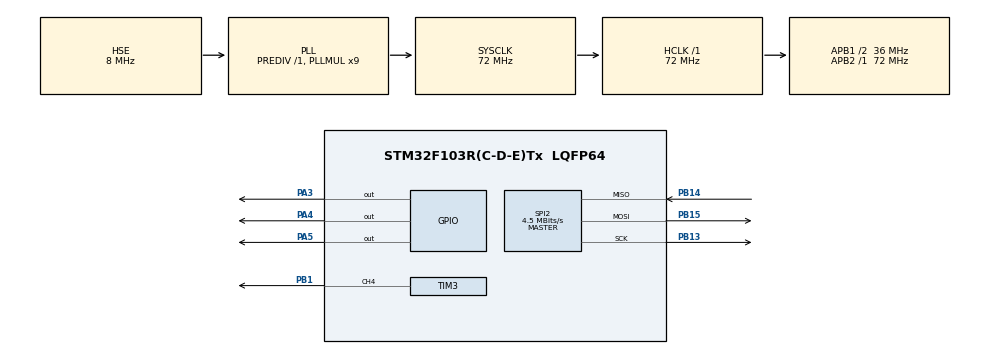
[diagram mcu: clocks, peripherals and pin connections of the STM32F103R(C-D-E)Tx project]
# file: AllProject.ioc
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Dma.Request0=TIM3_CH4/UP
Dma.TIM3_CH4/UP.0.Direction=DMA_MEMORY_TO_PERIPH
Dma.TIM3_CH4/UP.0.Instance=DMA1_Channel3
Dma.TIM3_CH4/UP.0.MemDataAlignment=DMA_MDATAALIGN_HALFWORD
Dma.TIM3_CH4/UP.0.MemInc=DMA_MINC_ENABLE
Dma.TIM3_CH4/UP.0.Mode=DMA_NORMAL
Dma.TIM3_CH4/UP.0.PeriphDataAlignment=DMA_PDATAALIGN_HALFWORD
Dma.TIM3_CH4/UP.0.PeriphInc=DMA_PINC_DISABLE
Dma.TIM3_CH4/UP.0.Priority=DMA_PRIORITY_LOW
FATFS._MAX_SS=4096
FATFS._USE_LFN=1
Mcu.Family=STM32F1
Mcu.Name=STM32F103R(C-D-E)Tx
Mcu.Package=LQFP64
NVIC.DMA1_Channel3_IRQn=true\:0\:0\:false\:false\:true\:false\:true
NVIC.PriorityGroup=NVIC_PRIORITYGROUP_4
NVIC.TIM2_IRQn=true\:0\:0\:false\:false\:true\:true\:true
PA3.GPIO_Speed=GPIO_SPEED_FREQ_MEDIUM
PA3.Signal=GPIO_Output
PA4.GPIO_Speed=GPIO_SPEED_FREQ_MEDIUM
PA4.Signal=GPIO_Output
PA5.GPIO_Speed=GPIO_SPEED_FREQ_MEDIUM
PA5.Signal=GPIO_Output
PB1.Signal=S_TIM3_CH4
PB13.Mode=Full_Duplex_Master
PB13.Signal=SPI2_SCK
PB14.Mode=Full_Duplex_Master
PB14.Signal=SPI2_MISO
PB15.Mode=Full_Duplex_Master
PB15.Signal=SPI2_MOSI
PD0-OSC_IN.Mode=HSE-External-Oscillator
PD0-OSC_IN.Signal=RCC_OSC_IN
PD1-OSC_OUT.Mode=HSE-External-Oscillator
PD1-OSC_OUT.Signal=RCC_OSC_OUT
ProjectManager.HeapSize=0x1000
ProjectManager.StackSize=0x1000
ProjectManager.TargetToolchain=MDK-ARM V5
RCC.AHBFreq_Value=72000000
RCC.APB1CLKDivider=RCC_HCLK_DIV2
RCC.APB1Freq_Value=36000000
RCC.APB1TimFreq_Value=72000000
RCC.APB2Freq_Value=72000000
RCC.APB2TimFreq_Value=72000000
RCC.HCLKFreq_Value=72000000
RCC.PLLMUL=RCC_PLL_MUL9
RCC.PLLSourceVirtual=RCC_PLLSOURCE_HSE
RCC.SYSCLKFreq_VALUE=72000000
RCC.SYSCLKSource=RCC_SYSCLKSOURCE_PLLCLK
RCC.USBFreq_Value=72000000
SH.S_TIM3_CH4.0=TIM3_CH4,PWM Generation4 CH4
SPI2.BaudRatePrescaler=SPI_BAUDRATEPRESCALER_8
SPI2.CalculateBaudRate=4.5 MBits/s
SPI2.Direction=SPI_DIRECTION_2LINES
SPI2.Mode=SPI_MODE_MASTER
SPI2.VirtualType=VM_MASTER
TIM2.Period=100
TIM2.Prescaler=7199
TIM3.Channel-PWM\ Generation4\ CH4=TIM_CHANNEL_4
TIM3.Period=89
VP_FATFS_VS_Generic.Mode=User_defined
VP_SYS_VS_ND.Mode=No_Debug
VP_TIM2_VS_ClockSourceINT.Mode=Internal
VP_TIM3_VS_ClockSourceINT.Mode=Internal
board=custom

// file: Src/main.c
/* USER CODE BEGIN Header */
/**
  ******************************************************************************
  * @file           : main.c
  * @brief          : Main program body
  ******************************************************************************
  * @attention
  *
  * <h2><center>&copy; Copyright (c) 2019 STMicroelectronics.
  * All rights reserved.</center></h2>
  *
  * This software component is licensed by ST under Ultimate Liberty license
  * SLA0044, the "License"; You may not use this file except in compliance with
  * the License. You may obtain a copy of the License at:
  *                             www.st.com/SLA0044
  *
  ******************************************************************************
  */
/* USER CODE END Header */

#include "main.h"
#include "fatfs.h"

/* USER CODE BEGIN Includes */
#include <stdio.h>
#include <stdlib.h>
#include <string.h>
#include <stdbool.h>
#include "sd.h"
#include "Lcd.h"
#include "Delay.h"
#include "Encoder.h"
#include "ws2812b.h"
/* USER CODE END Includes */

SPI_HandleTypeDef hspi2;

TIM_HandleTypeDef htim2;
TIM_HandleTypeDef htim3;
DMA_HandleTypeDef hdma_tim3_ch4_up;

extern int EncoderCount;
extern int EncoderMenu;
extern uint16_t BUF_DMA [ARRAY_LEN];
extern volatile uint16_t Timer1;
uint8_t sect[512];
uint32_t byteswritten,bytesread;
uint8_t result;
extern char USERPath[4]; /* logical drive path */
FATFS SDFatFs;
FATFS *fs;
FIL MyFile;
extern int count;
int NUMLEDS = 144;
int DMA_is_Ready = 1;

struct menu                             // Структура описывающая меню
{
  int ID;                               // Идентификационный уникальный индекс ID
  int parentID;                         // ID родителя
	int childID;
	int group;															// кол-во выводимых пунктов
	bool isParam;                         // Является ли пункт изменяемым параметром
  char name[8];                         // Название
  int value;                            // Актуальное значение
  int _min;                             // Минимально возможное значение параметра
  int _max;                             // Максимально возможное значение параметра
};

int menuArraySize = 8;                 // Задаем размер массива
struct menu menus[] = {                        // Задаем пункты меню
/*1.номер 2.роидтель,3.имя,4.тек.зн.56.диапазон*/
	{0, 0, 1, 1, false, "Menu",     0,   0,  0},
  {1, 0, 4, 3, false, "Files",    0,   0,  0},
  {2, 0, 5, 3, false, "Setting",  0,   0,  0},
  {3, 0, 0, 3, false, "Restart",  0,   0,  0},
  {4, 1, 4, 1, false, "Files",    0,   0,  0},
  {5, 1, 0, 3, true,  "NumLED",   144, 0,  144},
  {6, 1, 0, 3, true,  "Delay",    3,   0,  1000},
  {7, 1, 0, 3, true,  "Cycle",    0,   0,  1}
};
struct Image
{
	int ImageID;      //номер
  char name[6];     //имя картинки
  int Width;				//ширина (кол-во светодиодов)
	int Height;				//высота
	int Offset;				//смещение
	int Size;					//размер
};
struct Image Images[] = {
	{1,  "", 0, 0, 0, 0},
	{2,  "", 0, 0, 0, 0},
	{3,  "", 0, 0, 0, 0},
	{4,  "", 0, 0, 0, 0},
	{5,  "", 0, 0, 0, 0},
	{6,  "", 0, 0, 0, 0},
	{7,  "", 0, 0, 0, 0},
	{8,  "", 0, 0, 0, 0},
	{9,  "", 0, 0, 0, 0},
	{10, "", 0, 0, 0, 0},
};
int GroupNow = 0;

void SystemClock_Config(void);
static void MX_GPIO_Init(void);
static void MX_DMA_Init(void);
static void MX_SPI2_Init(void);
static void MX_TIM2_Init(void);
static void MX_TIM3_Init(void);

/* USER CODE BEGIN 0 */
void printmenu(int parID, bool direction){
	EncoderCount = 0;
	ClearLCDScreen();
	int chid = 0;
	int number = 0;
	if(direction){
		chid = menus[parID].childID;
		number = menus[chid].group;
		GroupNow = chid;
	}
	else{
		chid = menus[parID].parentID;
		number = menus[chid].group;
		GroupNow = chid;
	}
	Marker(EncoderCount % 2, EncoderCount / 2 * 8);
	for(int i  = 0; i < menus[chid].group; i++){
		Cursor(i % 2, i / 2 * 8 + 1);
		PrintStr(menus[chid+i].name);
	}
}
//--------------------------------------------------
void printfiles(int NumOfFiles, int shift, int restriction){
	EncoderCount = 0;
	ClearLCDScreen();
	Marker(EncoderCount % 2, EncoderCount / 2 * 8);
	for(int i  = 0; i <= restriction; i++){
		Cursor(i % 2, i / 2 * 8 + 1);
		PrintStr(Images[i+shift].name);
	}
}
//--------------------------------------------------
void PrintPicture(int NumPic){
	FIL Pic;
	int k = 0;
	int t = /*19*/(72+18)*3 + 2;
	HAL_GPIO_WritePin(GPIOA, GPIO_PIN_4, GPIO_PIN_RESET);
	int OLD_EncoderMenu = EncoderMenu;
	int x = strlen(Images[NumPic].name) + 4 + 2;
	char *name = (char*) malloc(x * sizeof(char));
	strcpy( (char*)name, (char*)Images[NumPic].name);
	strcat(name, ".bmp");
	f_open(&Pic, name, FA_READ);
	k = Images[NumPic].Offset + t;
	if(f_lseek(&Pic, k) != FR_OK) Error_Handler();
	if (menus[7].value == 0){
		while(k <= (Images[NumPic].Width * Images[NumPic].Height * 3)){
			if(f_read(&Pic, sect, (menus[5].value * 3),(UINT *) &bytesread) != FR_OK) Error_Handler();
			delay_ms(menus[6].value);
			while(DMA_is_Ready != 1);
			for(int i = 0, j = 0; i < (menus[5].value * 3); i+=3, j++){
				ws2812_pixel_rgb_to_buf_dma(sect[i+2], sect[i+1], sect[i], j);
			}
			DMA_is_Ready = 0;
			HAL_TIM_PWM_Start_DMA(&htim3,TIM_CHANNEL_4,(uint32_t*)&BUF_DMA,ARRAY_LEN);
			k += menus[5].value*3;
			if(f_lseek(&Pic, k) != FR_OK) Error_Handler();
		}
	}
	else{
		while(OLD_EncoderMenu == EncoderMenu){
			while(k <= (Images[NumPic].Width * Images[NumPic].Height * 3)){
				if(f_read(&Pic, sect, (menus[5].value * 3),(UINT *) &bytesread) != FR_OK) Error_Handler();
				delay_ms(menus[6].value);
				while(DMA_is_Ready != 1);
				for(int i = 0, j = 0; i < (menus[5].value * 3); i+=3, j++){
					ws2812_pixel_rgb_to_buf_dma(sect[i+2], sect[i+1], sect[i], j);
				}
				DMA_is_Ready = 0;
				HAL_TIM_PWM_Start_DMA(&htim3,TIM_CHANNEL_4,(uint32_t*)&BUF_DMA,ARRAY_LEN);
				k += menus[5].value*3;
				if(f_lseek(&Pic, k) != FR_OK) Error_Handler();
			}
			k = Images[NumPic].Offset + t;
		}
	}

	HAL_TIM_PWM_Start_DMA(&htim3,TIM_CHANNEL_4,(uint32_t*)&BUF_DMA,DELAY_LEN);
	for(int i = 0; i < menus[5].value; i++){
			ws2812_pixel_rgb_to_buf_dma(0 , 0, 0, i);
		}
	HAL_GPIO_WritePin(GPIOA, GPIO_PIN_4, GPIO_PIN_SET);
	if( f_close(&Pic) != FR_OK) {
				Error_Handler();
			}
}
//--------------------------------------------------
void reset (){
	SCB->AIRCR = 0x05FA0004;
}
//--------------------------------------------------
/* USER CODE END 0 */

int main(void)
{

  /* MCU Configuration--------------------------------------------------------*/

  /* Reset of all peripherals, Initializes the Flash interface and the Systick. */
  HAL_Init();
	//комментарий для гитхаба

  /* USER CODE BEGIN Init */
	uint16_t i;
	FRESULT res; //результат выполнения
	FILINFO fileInfo;
	char *fn;
	DIR dir;
	DWORD fre_clust, fre_sect, tot_sect;
  /* USER CODE END Init */

  /* Configure the system clock */
  SystemClock_Config();

  /* Initialize all configured peripherals */
  MX_GPIO_Init();
  MX_DMA_Init();
  MX_SPI2_Init();
  MX_TIM2_Init();
  MX_TIM3_Init();
  MX_FATFS_Init();
  /* USER CODE BEGIN 2 */
	Delay_Init();
	Encoder_Init();
	ws2812_init();
	HAL_TIM_PWM_Start_DMA(&htim3,TIM_CHANNEL_4,(uint32_t*)&BUF_DMA,ARRAY_LEN);
	HAL_GPIO_WritePin(GPIOA, GPIO_PIN_4, GPIO_PIN_RESET);
	HAL_GPIO_WritePin(GPIOA, GPIO_PIN_5, GPIO_PIN_RESET);
	delay_ms(1000);
	HAL_GPIO_WritePin(GPIOA, GPIO_PIN_4, GPIO_PIN_SET);
	HAL_GPIO_WritePin(GPIOA, GPIO_PIN_5, GPIO_PIN_SET);
	LCD_Init();
	HAL_TIM_Base_Start_IT(&htim2);
	disk_initialize(SDFatFs.drv);
	//readDir
	int NumOfFiles = 0;
	if(f_mount(&SDFatFs,(TCHAR const*)USERPath,0)!=FR_OK)
	{
		Error_Handler();
	}
	else
	{
		fileInfo.lfname = (char*)sect;
		fileInfo.lfsize = sizeof(sect);
		result = f_opendir(&dir, "/");
		if (result == FR_OK)
		{
			while(NumOfFiles < 10)
			{
				result = f_readdir(&dir, &fileInfo);
				if ((result==FR_OK && fileInfo.fname[0]) && NumOfFiles <= 9)
				{
					char *fn = NULL;
					if(strlen(fileInfo.lfname)) fn = (char*) fileInfo.lfname;
					else	fn = (char*) fileInfo.fname;
					if(strstr(fn, ".bmp"))
					{
						char *i = strpbrk(fn, ".");
						int numbbyte = (( i - fn) > 6) ? 6 :  i - fn;
						strncpy(Images[NumOfFiles].name, fn, numbbyte);
						NumOfFiles++;
					}
				}
				else break;
			}
			f_closedir(&dir);
		}
		else Error_Handler();
	}
	//read
	for(int i = 0; i < NumOfFiles; i++)
	{
		delay_ms(10);
		int x = strlen(Images[i].name) + 4 + 2;
		char *name = (char*) malloc(x * sizeof(char));
		strcpy( (char*)name, (char*)Images[i].name);
		//if(NumOfFiles == 0) break;
		strcat(name, ".bmp");
		if(f_open(&MyFile,(char*) name,FA_READ)!=FR_OK)
		{
			Error_Handler();
		}
		else
		{
			f_read(&MyFile, sect, 64, &bytesread);
			//Width
			Images[i].Width |= sect[21] << 24;	//складываем ширину
			Images[i].Width |= sect[20] << 16;
			Images[i].Width |= sect[19] << 8;
			Images[i].Width |= sect[18];
			Images[i].Height |= sect[25] << 24;	//складываем высоту
			Images[i].Height |= sect[24] << 16;
			Images[i].Height |= sect[23] << 8;
			Images[i].Height |= sect[22];
			Images[i].Offset |= sect[13] << 24;	//смещение отн.начала файла
			Images[i].Offset |= sect[12] << 16;
			Images[i].Offset |= sect[11] << 8;
			Images[i].Offset |= sect[10];
			Images[i].Offset += 1024;
			Images[i].Size |= sect[5] << 24;		//размер файла
			Images[i].Size |= sect[4] << 16;
			Images[i].Size |= sect[3] << 8;
			Images[i].Size |= sect[2];
			if(Images[i].Width != menus[5].value)
			{
				Images[i].Width = 0;
				Images[i].Height = 0;
				Images[i].Offset = 0;
				Images[i].Size = 0;
				for( int j = i; j <= NumOfFiles; j++)
				{
					strcpy(Images[j].name, Images[j+1].name);
				}
				NumOfFiles--;
				i--;
			}
			if( f_close(&MyFile) != FR_OK) {
				Error_Handler();
			}
		}
		free(name);
	}
  /* USER CODE END 2 */

  /* Infinite loop */
  /* USER CODE BEGIN WHILE */
	int OLD_EncoderMenu = 0;
	int OLD_EncoderCount = 0;
	int OLD_MarkerRow = 0;
	int OLD_MarkerCol = 0;
	Marker(EncoderCount % 2, EncoderCount / 2 * 8);
	Cursor(0,1);
	PrintStr(menus[0].name);
	int restriction = menus[0].group - 1;
  while (1)
  {
    /* USER CODE END WHILE */

    /* USER CODE BEGIN 3 */
		if(OLD_EncoderCount != EncoderCount){
			if(EncoderCount < 0 || EncoderCount > restriction)
				EncoderCount = (EncoderCount < 0 ? restriction : 0);
			Cleaning(OLD_MarkerRow, OLD_MarkerCol, 1);
			Marker(EncoderCount % 2, EncoderCount / 2 * 8);
			OLD_EncoderCount = EncoderCount;
			OLD_MarkerRow = EncoderCount % 2;
			OLD_MarkerCol = EncoderCount / 2 * 8;
		}
		if(OLD_EncoderMenu != EncoderMenu){
			Cleaning(EncoderCount % 2, EncoderCount / 2 * 8, 1);
			if(EncoderMenu > OLD_EncoderMenu){
				if (GroupNow + EncoderCount == 3){
					reset();
				}
				else if(menus[GroupNow + EncoderCount].isParam){	//if на изменение настроек
					int pos = EncoderCount;
					ClearLCDScreen();
					Marker(0, 0);
					Cursor(0, 1);
					PrintStr("min:");
					PrintVar(menus[GroupNow + EncoderCount]._min);
					Cursor(0, 8);
					PrintStr("max:");
					PrintVar(menus[GroupNow + EncoderCount]._max);
					Cursor(1, 0);
					PrintStr("Value:");
					PrintVar(menus[GroupNow + EncoderCount].value);
					OLD_EncoderMenu = EncoderMenu;
					OLD_EncoderCount = 0;
					EncoderCount = menus[GroupNow + EncoderCount].value;
					restriction = menus[GroupNow + pos]._max;
					while(OLD_EncoderMenu == EncoderMenu){
						if(OLD_EncoderCount != EncoderCount){
							if(EncoderCount < 0 || EncoderCount > restriction)
								EncoderCount = (EncoderCount < 0 ? restriction : 0);
							Cleaning(1,6,4);
							Cursor(1,6);
							PrintVar(EncoderCount);
							OLD_EncoderCount = EncoderCount;
						}
					}
					menus[GroupNow + pos].value = EncoderCount;
					EncoderCount = 0;
					OLD_EncoderCount = 0;
					printmenu(menus[2].ID, 1);
				}
				else if(menus[GroupNow + EncoderCount].ID == 4){		//If для выбора картинки
					EncoderCount = 0;
					OLD_EncoderCount = 0;
					OLD_EncoderMenu = EncoderMenu;
					int shift = 0;
					restriction = ((NumOfFiles - shift) > 3 ? 3 : (NumOfFiles - shift));
					printfiles(NumOfFiles, shift, restriction);
					while(OLD_EncoderMenu == EncoderMenu){
						if(OLD_EncoderCount != EncoderCount){
							if(EncoderCount < 0 || EncoderCount > restriction){
								if((shift + EncoderCount) >= NumOfFiles){
									EncoderCount = 0;
									shift = 0;
									restriction = (NumOfFiles - shift) > 3 ? 3 : (NumOfFiles - shift);
									printfiles(NumOfFiles, shift, restriction);
								}
								else if(EncoderCount < 0 && shift != 0){
									EncoderCount = 0;
									shift -= 4;
									restriction = (NumOfFiles - shift) > 3 ? 3 : (NumOfFiles - shift);
									printfiles(NumOfFiles, shift, restriction);
								}
								else{
									EncoderCount = 0;
									shift += 4;
									restriction = (NumOfFiles - shift) > 3 ? 3 : (NumOfFiles - shift - 1);
									printfiles(NumOfFiles, shift, restriction);
								}
							}
							Cleaning(OLD_MarkerRow, OLD_MarkerCol, 1);
							Marker(EncoderCount % 2, EncoderCount / 2 * 8);
							OLD_EncoderCount = EncoderCount;
							OLD_MarkerRow = EncoderCount % 2;
							OLD_MarkerCol = EncoderCount / 2 * 8;
						}
					}
					if(OLD_EncoderMenu < EncoderMenu){
						PrintPicture(shift+EncoderCount);

					}
				}
				else
					printmenu(menus[GroupNow + EncoderCount].ID, 1);
			}
			else{
				printmenu(menus[GroupNow + EncoderCount].ID, 0);
			}
			restriction = menus[GroupNow].group - 1;
			OLD_EncoderMenu = EncoderMenu;
			OLD_MarkerRow = 0;
			OLD_MarkerCol = 0;
		}
  /* USER CODE END 3 */
	}
}

void SystemClock_Config(void)
{
  RCC_OscInitTypeDef RCC_OscInitStruct = {0};
  RCC_ClkInitTypeDef RCC_ClkInitStruct = {0};

  /** Initializes the CPU, AHB and APB busses clocks
  */
  RCC_OscInitStruct.OscillatorType = RCC_OSCILLATORTYPE_HSE;
  RCC_OscInitStruct.HSEState = RCC_HSE_ON;
  RCC_OscInitStruct.HSEPredivValue = RCC_HSE_PREDIV_DIV1;
  RCC_OscInitStruct.HSIState = RCC_HSI_ON;
  RCC_OscInitStruct.PLL.PLLState = RCC_PLL_ON;
  RCC_OscInitStruct.PLL.PLLSource = RCC_PLLSOURCE_HSE;
  RCC_OscInitStruct.PLL.PLLMUL = RCC_PLL_MUL9;
  if (HAL_RCC_OscConfig(&RCC_OscInitStruct) != HAL_OK)
  {
    Error_Handler();
  }
  /** Initializes the CPU, AHB and APB busses clocks
  */
  RCC_ClkInitStruct.ClockType = RCC_CLOCKTYPE_HCLK|RCC_CLOCKTYPE_SYSCLK
                              |RCC_CLOCKTYPE_PCLK1|RCC_CLOCKTYPE_PCLK2;
  RCC_ClkInitStruct.SYSCLKSource = RCC_SYSCLKSOURCE_PLLCLK;
  RCC_ClkInitStruct.AHBCLKDivider = RCC_SYSCLK_DIV1;
  RCC_ClkInitStruct.APB1CLKDivider = RCC_HCLK_DIV2;
  RCC_ClkInitStruct.APB2CLKDivider = RCC_HCLK_DIV1;

  if (HAL_RCC_ClockConfig(&RCC_ClkInitStruct, FLASH_LATENCY_2) != HAL_OK)
  {
    Error_Handler();
  }
}

static void MX_SPI2_Init(void)
{

  /* SPI2 parameter configuration*/
  hspi2.Instance = SPI2;
  hspi2.Init.Mode = SPI_MODE_MASTER;
  hspi2.Init.Direction = SPI_DIRECTION_2LINES;
  hspi2.Init.DataSize = SPI_DATASIZE_8BIT;
  hspi2.Init.CLKPolarity = SPI_POLARITY_LOW;
  hspi2.Init.CLKPhase = SPI_PHASE_1EDGE;
  hspi2.Init.NSS = SPI_NSS_SOFT;
  hspi2.Init.BaudRatePrescaler = SPI_BAUDRATEPRESCALER_8;
  hspi2.Init.FirstBit = SPI_FIRSTBIT_MSB;
  hspi2.Init.TIMode = SPI_TIMODE_DISABLE;
  hspi2.Init.CRCCalculation = SPI_CRCCALCULATION_DISABLE;
  hspi2.Init.CRCPolynomial = 10;
  if (HAL_SPI_Init(&hspi2) != HAL_OK)
  {
    Error_Handler();
  }

}

static void MX_TIM2_Init(void)
{

  TIM_ClockConfigTypeDef sClockSourceConfig = {0};
  TIM_MasterConfigTypeDef sMasterConfig = {0};

  htim2.Instance = TIM2;
  htim2.Init.Prescaler = 7199;
  htim2.Init.CounterMode = TIM_COUNTERMODE_UP;
  htim2.Init.Period = 100;
  htim2.Init.ClockDivision = TIM_CLOCKDIVISION_DIV1;
  htim2.Init.AutoReloadPreload = TIM_AUTORELOAD_PRELOAD_DISABLE;
  if (HAL_TIM_Base_Init(&htim2) != HAL_OK)
  {
    Error_Handler();
  }
  sClockSourceConfig.ClockSource = TIM_CLOCKSOURCE_INTERNAL;
  if (HAL_TIM_ConfigClockSource(&htim2, &sClockSourceConfig) != HAL_OK)
  {
    Error_Handler();
  }
  sMasterConfig.MasterOutputTrigger = TIM_TRGO_RESET;
  sMasterConfig.MasterSlaveMode = TIM_MASTERSLAVEMODE_DISABLE;
  if (HAL_TIMEx_MasterConfigSynchronization(&htim2, &sMasterConfig) != HAL_OK)
  {
    Error_Handler();
  }

}

static void MX_TIM3_Init(void)
{

  TIM_ClockConfigTypeDef sClockSourceConfig = {0};
  TIM_MasterConfigTypeDef sMasterConfig = {0};
  TIM_OC_InitTypeDef sConfigOC = {0};

  htim3.Instance = TIM3;
  htim3.Init.Prescaler = 0;
  htim3.Init.CounterMode = TIM_COUNTERMODE_UP;
  htim3.Init.Period = WS2812B_TIMER_AAR;
  htim3.Init.ClockDivision = TIM_CLOCKDIVISION_DIV1;
  htim3.Init.AutoReloadPreload = TIM_AUTORELOAD_PRELOAD_DISABLE;
  if (HAL_TIM_Base_Init(&htim3) != HAL_OK)
  {
    Error_Handler();
  }
  sClockSourceConfig.ClockSource = TIM_CLOCKSOURCE_INTERNAL;
  if (HAL_TIM_ConfigClockSource(&htim3, &sClockSourceConfig) != HAL_OK)
  {
    Error_Handler();
  }
  if (HAL_TIM_PWM_Init(&htim3) != HAL_OK)
  {
    Error_Handler();
  }
  sMasterConfig.MasterOutputTrigger = TIM_TRGO_RESET;
  sMasterConfig.MasterSlaveMode = TIM_MASTERSLAVEMODE_DISABLE;
  if (HAL_TIMEx_MasterConfigSynchronization(&htim3, &sMasterConfig) != HAL_OK)
  {
    Error_Handler();
  }
  sConfigOC.OCMode = TIM_OCMODE_PWM1;
  sConfigOC.Pulse = 0;
  sConfigOC.OCPolarity = TIM_OCPOLARITY_HIGH;
  sConfigOC.OCFastMode = TIM_OCFAST_DISABLE;
  if (HAL_TIM_PWM_ConfigChannel(&htim3, &sConfigOC, TIM_CHANNEL_4) != HAL_OK)
  {
    Error_Handler();
  }
  HAL_TIM_MspPostInit(&htim3);

}

static void MX_DMA_Init(void)
{
  /* DMA controller clock enable */
  __HAL_RCC_DMA1_CLK_ENABLE();

  /* DMA interrupt init */
  /* DMA1_Channel3_IRQn interrupt configuration */
  HAL_NVIC_SetPriority(DMA1_Channel3_IRQn, 0, 0);
  HAL_NVIC_EnableIRQ(DMA1_Channel3_IRQn);

}

static void MX_GPIO_Init(void)
{
  GPIO_InitTypeDef GPIO_InitStruct = {0};

  /* GPIO Ports Clock Enable */
  __HAL_RCC_GPIOD_CLK_ENABLE();
  __HAL_RCC_GPIOA_CLK_ENABLE();
  __HAL_RCC_GPIOB_CLK_ENABLE();

  /*Configure GPIO pin Output Level */
  HAL_GPIO_WritePin(GPIOA, GPIO_PIN_3|GPIO_PIN_4|GPIO_PIN_5, GPIO_PIN_RESET);

  /*Configure GPIO pins : PA3 PA4 PA5 */
  GPIO_InitStruct.Pin = GPIO_PIN_3|GPIO_PIN_4|GPIO_PIN_5;
  GPIO_InitStruct.Mode = GPIO_MODE_OUTPUT_PP;
  GPIO_InitStruct.Pull = GPIO_NOPULL;
  GPIO_InitStruct.Speed = GPIO_SPEED_FREQ_MEDIUM;
  HAL_GPIO_Init(GPIOA, &GPIO_InitStruct);

}

/* USER CODE BEGIN 4 */
//----------------------------------------------------------

void HAL_TIM_PeriodElapsedCallback(TIM_HandleTypeDef *htim)
{
	if(htim==&htim2)
	{
		Timer1++;
	}
}
//----------------------------------------------------------
/* USER CODE END 4 */

void Error_Handler(void)
{
}

/************************ (C) COPYRIGHT STMicroelectronics *****END OF FILE****/
